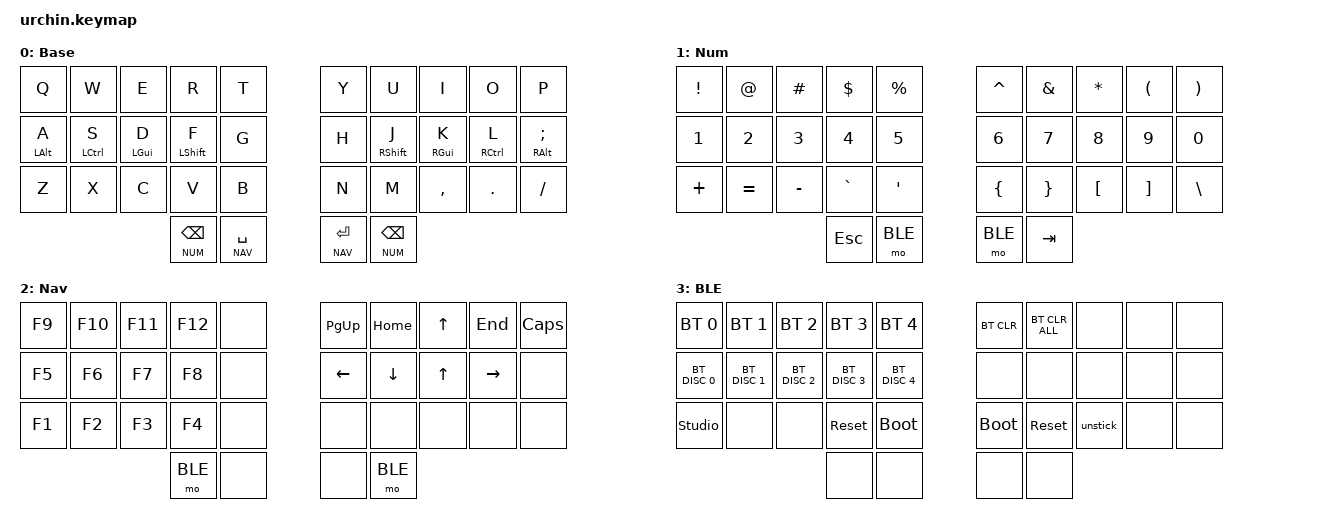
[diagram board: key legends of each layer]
/*
 * Copyright (c) 2020 duckyb
 *
 * SPDX-License-Identifier: MIT
 */

#include <behaviors.dtsi>
#include <dt-bindings/zmk/keys.h>
#include <dt-bindings/zmk/bt.h>
#include <dt-bindings/zmk/outputs.h>
#include "keymap_italian.h"

// Layer definitions
#define BASE 0
#define NUM 1
#define NAV 2
#define BLE 3

&sk {
    // don't release mods on other mods presses
    ignore-modifiers;
};

/ {
    behaviors {
        qt: quick_tap {
            compatible = "zmk,behavior-hold-tap";
            label = "QUICK_TAP";
            #binding-cells = <2>;
            flavor = "balanced";
            tapping-term-ms = <200>;
            quick-tap-ms = <200>;
            bindings = <&kp>, <&kp>;
        };
    };

    macros {
        unstick: unstick {
            label = "ZM_unstick";
            compatible = "zmk,behavior-macro";
            #binding-cells = <0>;
            bindings = <&kp LSHIFT &kp RSHIFT &kp LCTRL &kp RCTRL &kp LALT &kp RALT &kp LGUI &kp RGUI>;
        };
    };

    combos {
        compatible = "zmk,combos";
        combo_accent {
            timeout-ms = <200>;
            key-positions = <32 33>;
            bindings = <&mo BLE>;
        };
        combo_settings {
            timeout-ms = <200>;
            key-positions = <30 31>;
            bindings = <&mo BLE>;
        };
    };

    keymap {
        compatible = "zmk,keymap";

        default_layer {
            label = "Base";
            bindings = <
            &kp Q &kp W &kp E &kp R &kp T             &kp Y &kp U  &kp I     &kp O   &kp P 
            &qt LALT A &qt LCTRL S &qt LGUI D &qt LSHIFT F &kp G             &kp H &qt RSHIFT J &qt RGUI K &qt RCTRL L &qt RALT SEMICOLON
            &kp Z &kp X &kp C &kp V &kp B             &kp N &kp M  &kp COMMA &kp DOT &kp SLASH
                            &lt NUM BSPC &lt NAV SPACE   &lt NAV RETURN &lt NUM BSPC
            >;
        };

        num_layer {
            label = "Num";
            bindings = <
            &kp EXCL &kp AT    &kp HASH  &kp DOLLAR &kp PERCENT    &kp CARET &kp AMPS &kp STAR &kp LPAR &kp RPAR
            &kp N1   &kp N2    &kp N3    &kp N4     &kp N5         &kp N6    &kp N7   &kp N8   &kp N9   &kp N0
            &kp PLUS &kp EQUAL &kp MINUS &kp GRAVE  &kp APOS       &kp LBRC  &kp RBRC &kp LBKT &kp RBKT &kp BACKSLASH
                                         &kp ESC    &mo BLE        &mo BLE   &kp TAB
            >;
        };

        nav_layer {
            label = "Nav";
            bindings = <
            &kp F9 &kp F10 &kp F11 &kp F12 &none      &kp PG_UP &kp HOME &kp UP   &kp END   &kp CAPS
            &kp F5 &kp F6  &kp F7  &kp F8  &none      &kp LEFT  &kp DOWN &kp UP   &kp RIGHT &none
            &kp F1 &kp F2  &kp F3  &kp F4  &none      &none     &none    &none    &none     &none
                                   &mo BLE &none      &none     &mo BLE
            >;
        };

        ble_layer {
            label = "BLE";
            bindings = <
            &bt BT_SEL 0  &bt BT_SEL 1  &bt BT_SEL 2  &bt BT_SEL 3  &bt BT_SEL 4    &bt BT_CLR   &bt BT_CLR_ALL &none    &none &none 
            &bt BT_DISC 0 &bt BT_DISC 1 &bt BT_DISC 2 &bt BT_DISC 3 &bt BT_DISC 4   &none        &none          &none    &none &none
            &studio_unlock &none        &none         &sys_reset    &bootloader     &bootloader  &sys_reset     &unstick &none &none
                                                      &none         &none           &none        &none  
            >;
        };
    };
};
